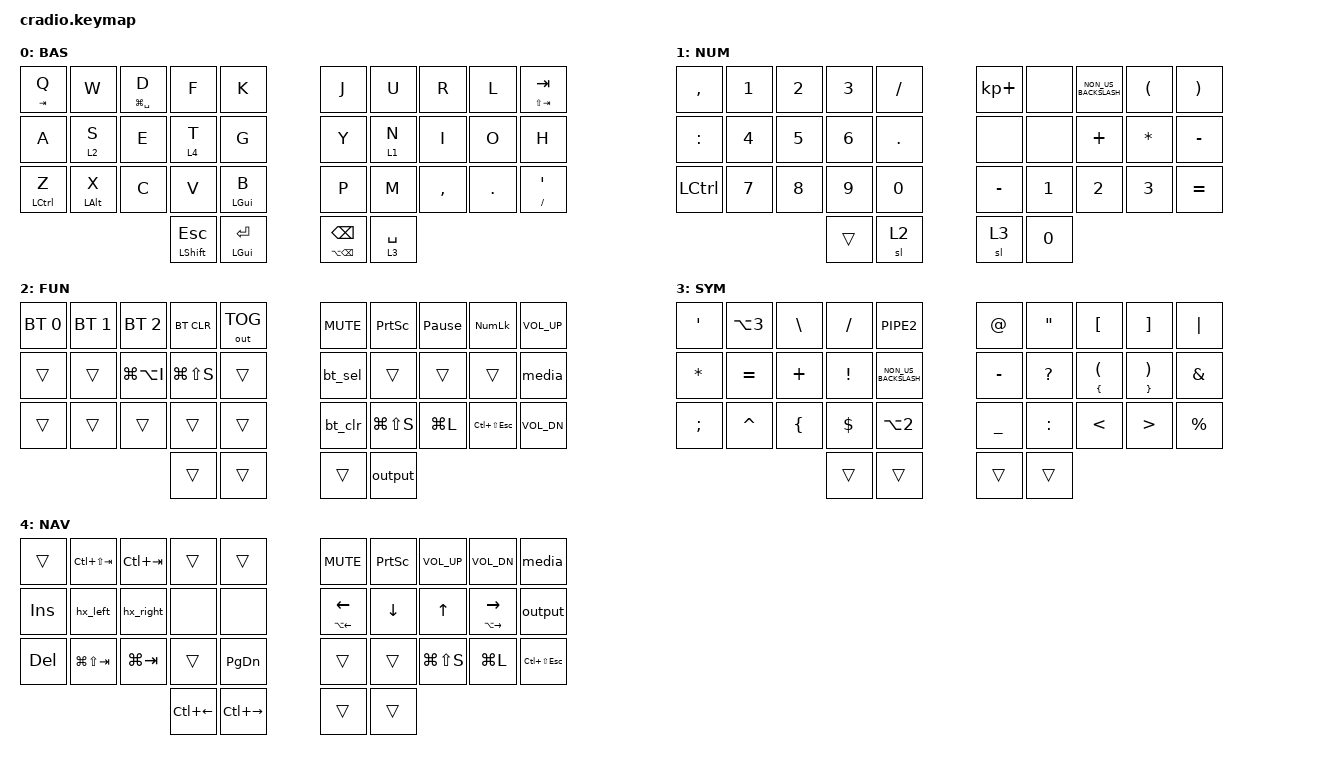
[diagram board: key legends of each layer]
/*
 * Copyright (c) 2020 The ZMK Contributors
 *
 * SPDX-License-Identifier: MIT
 */

#include <behaviors.dtsi>
#include <dt-bindings/zmk/bt.h>
#include <dt-bindings/zmk/keys.h>
#include <dt-bindings/zmk/outputs.h>

#define BAS 0
#define NUM 1
#define SYM 2
#define NAV 3
#define SCNSHT  LG(LS(S))
#define TSK_MGR LC(LS(ESC))

&mt {
    flavor = "tap-preferred";
    tapping-term-ms = <200>;
    quick-tap-ms = <0>;
};

&lt {
    flavor = "balanced";
    tapping-term-ms = <222>;
};

&sl {
    release-after-ms = <800>;
};

&sk {
    release-after-ms = <500>;
    quick-release;
};

&caps_word { continue-list = <UNDERSCORE MINUS BSPC>; };

/ {
    combos {
        compatible = "zmk,combos";

        #define COMBO(NAME, BINDINGS, KEYPOS, TIMEOUT, LAYERS) \
            combo_##NAME { \
                timeout-ms = <TIMEOUT>; \
                bindings = <BINDINGS>; \
                key-positions = <KEYPOS>; \
                layers = <LAYERS>; \
                slow-release; \
            };

        #define DEFAULT_TIME 64
        #define LONG_TIME    128

        #define ALL_LAYERS     BAS NUM SYM NAV
        #define DEFAULT_LAYERS BAS NUM SYM NAV

        COMBO(l_bail    , &bail     , 30 31, DEFAULT_TIME, DEFAULT_LAYERS)
        COMBO(r_bail    , &bail     , 32 33, DEFAULT_TIME, DEFAULT_LAYERS)
        COMBO(tab       , &kp TAB   , 13 30, DEFAULT_TIME, DEFAULT_LAYERS)
        COMBO(del       , &kp DEL   , 16 33, DEFAULT_TIME, DEFAULT_LAYERS)
        COMBO(caps_word , &caps_word, 30 33, DEFAULT_TIME, DEFAULT_LAYERS)

        COMBO(l_sk_ctrl , &sk LCTRL , 13 23, DEFAULT_TIME, DEFAULT_LAYERS)
        COMBO(l_sk_shift, &sk LSHIFT, 12 22, DEFAULT_TIME, DEFAULT_LAYERS)
        COMBO(l_sk_alt  , &sk LALT  , 11 21, DEFAULT_TIME, DEFAULT_LAYERS)
        COMBO(l_win     , &kp LWIN  , 10 20, DEFAULT_TIME, DEFAULT_LAYERS)

        COMBO(r_sk_ctrl , &sk LCTRL , 16 26, DEFAULT_TIME, DEFAULT_LAYERS)
        COMBO(r_sk_shift, &sk RSHIFT, 17 27, DEFAULT_TIME, DEFAULT_LAYERS)
        COMBO(r_sk_alt  , &sk RALT  , 18 28, DEFAULT_TIME, DEFAULT_LAYERS)
        COMBO(r_win     , &kp LWIN  , 19 29, DEFAULT_TIME, DEFAULT_LAYERS)

        COMBO(num_bspc  , &kp BSPC  , 6  16, DEFAULT_TIME, NUM           )
        COMBO(num_comma , &kp COMMA , 7  17, DEFAULT_TIME, NUM           )
        COMBO(num_space , &kp SPACE , 8  18, DEFAULT_TIME, NUM           )
    };

    behaviors {
        bt_sel: tap_dance_bluetooth_select {
            compatible = "zmk,behavior-tap-dance";
            label = "BLUETOOTH_SELECT";
            #binding-cells = <0>;
            tapping-term-ms = <256>;
            bindings = <&bt BT_SEL 0>, <&bt BT_SEL 1>, <&bt BT_SEL 2>;
        };

        bt_clr: tap_dance_bluetooth_clear {
            compatible = "zmk,behavior-tap-dance";
            label = "BLUETOOTH_CLEAR";
            #binding-cells = <0>;
            tapping-term-ms = <256>;
            bindings = <&trans>, <&bt BT_CLR>;
        };

        f1_: tap_dance_f1_ {
            compatible = "zmk,behavior-tap-dance";
            label = "TAP_DANCE_F1_F24";
            #binding-cells = <0>;
            tapping-term-ms = <512>;
            bindings =
                <&kp F1>,
                <&kp F2>,
                <&kp F3>,
                <&kp F4>,
                <&kp F5>,
                <&kp F6>,
                <&kp F7>,
                <&kp F8>,
                <&kp F9>,
                <&kp F10>,
                <&kp F11>,
                <&kp F12>;
        };

        media: tap_dance_media {
            compatible = "zmk,behavior-tap-dance";
            label = "TAP_DANCE_MEDIA";
            #binding-cells = <0>;
            tapping-term-ms = <300>;
            bindings = <&kp C_PP>, <&kp C_NEXT>, <&kp C_PREV>;
        };

        output: tap_output {
            compatible = "zmk,behavior-tap-dance";
            label = "TAP_DANCE_OUTPUT";
            #binding-cells = <0>;
            tapping-term-ms = <300>;
            bindings = <&out OUT_USB>, <&out OUT_BLE>;
        };
    };

    macros {
        // No way to cancel sticky keys so using F24 as a NOOP proxy
        // Bailing out of any sticky keyboard state macro
        bail: macro_bail {
            label = "MACRO_BAIL";
            compatible = "zmk,behavior-macro";
            #binding-cells = <0>;
            bindings = <&macro_tap>, <&kp F24 &to 0>;
        };

        hx_left: hx_left {
            compatible = "zmk,behavior-macro";
            #binding-cells = <0>;
            bindings = <&kp LEFT_BRACKET &kp LEFT_BRACKET>;
            label = "HX_LEFT";
        };

        hx_right: hx_right {
            compatible = "zmk,behavior-macro";
            #binding-cells = <0>;
            bindings = <&kp RIGHT_BRACKET &kp RIGHT_BRACKET>;
            label = "HX_RIGHT";
        };
    };

    keymap {
        compatible = "zmk,keymap";

        base_layer {
            label = "BAS";
            bindings = <
&mt TAB Q    &kp W           &mt LG(SPACE) D  &kp F                  &kp K               &kp J                        &kp U        &kp R      &kp L    &mt LS(TAB) TAB
&kp A        &lt 2 S         &kp E            &lt 4 T                &kp G               &kp Y                        &lt 1 N      &kp I      &kp O    &kp H
&mt LCTRL Z  &mt LEFT_ALT X  &kp C            &kp V                  &mt LEFT_GUI B      &kp P                        &kp M        &kp COMMA  &kp DOT  &mt SLASH SQT
                                             &mt LEFT_SHIFT ESCAPE  &mt LEFT_GUI ENTER  &mt LA(BACKSPACE) BACKSPACE  &lt 3 SPACE
            >;
        };

        number_layer {
            label = "NUM";
            bindings = <
&kp COMMA         &kp NUMBER_1  &kp NUMBER_2  &kp NUMBER_3  &kp SLASH   &kp KP_PLUS  &none   &kp NON_US_BACKSLASH  &kp LEFT_PARENTHESIS  &kp RIGHT_PARENTHESIS
&kp COLON         &kp NUMBER_4  &kp N5        &kp NUMBER_6  &kp PERIOD  &none        &none   &kp PLUS              &kp ASTERISK          &kp MINUS
&kp LEFT_CONTROL  &kp N7        &kp N8        &kp N9        &kp N0      &kp MINUS    &kp N1  &kp N2                &kp N3                &kp EQUAL
                                             &trans        &sl 2       &sl 3        &kp N0
            >;
        };

        function_layer {
            label = "FUN";
            bindings = <
&bt BT_SEL 0  &bt BT_SEL 1  &bt BT_SEL 2  &bt BT_CLR  &out OUT_TOG  &kp C_MUTE  &kp PSCRN   &kp PAUSE_BREAK  &kp KP_NUMLOCK  &kp C_VOL_UP
&trans        &trans        &kp LG(LA(I))  &kp SCNSHT  &trans        &bt_sel     &trans        &trans             &trans            &media
&trans        &trans        &trans        &trans       &trans        &bt_clr     &kp SCNSHT  &kp LG(L)        &kp TSK_MGR     &kp C_VOL_DN
                                    &trans       &trans        &trans      &output    
            >;
        };

        symbol_layer {
            label = "SYM";
            bindings = <
&kp SQT       &kp LA(N3)  &kp BACKSLASH          &kp SLASH        &kp PIPE2         &kp AT_SIGN     &kp DOUBLE_QUOTES  &kp LEFT_BRACKET                 &kp RIGHT_BRACKET                  &kp PIPE
&kp ASTERISK  &kp EQUAL  &kp PLUS              &kp EXCLAMATION  &kp NON_US_BACKSLASH  &kp MINUS       &kp QUESTION       &mt LEFT_BRACE LEFT_PARENTHESIS  &mt RIGHT_BRACE RIGHT_PARENTHESIS  &kp AMPERSAND
&kp SEMI      &kp CARET  &kp LBRC              &kp DOLLAR       &kp LA(NUMBER_2)  &kp UNDERSCORE  &kp COLON          &kp LESS_THAN                    &kp GREATER_THAN                   &kp PERCENT
                                             &trans           &trans            &trans          &trans
            >;
        };

        navigation_layer {
            label = "NAV";
            bindings = <
&trans        &kp LC(LS(TAB))        &kp LC(TAB)   &trans      &trans        &kp C_MUTE  &kp PSCRN   &kp C_VOL_UP  &kp C_VOL_DN    &media
&kp INS       &hx_left           &hx_right         &none       &none         &mt LA(LEFT) LEFT       &kp DOWN      &kp UP          &mt LA(RIGHT) RIGHT  &output
&kp DEL       &kp LG(LS(TAB))    &kp LG(TAB)       &trans      &kp PG_DN     &trans                  &trans        &kp SCNSHT      &kp LG(L)  &kp TSK_MGR
                                          &kp LC(LEFT_ARROW)  &kp LC(RIGHT_ARROW)  &trans  &trans
            >;
        };
    };
};
